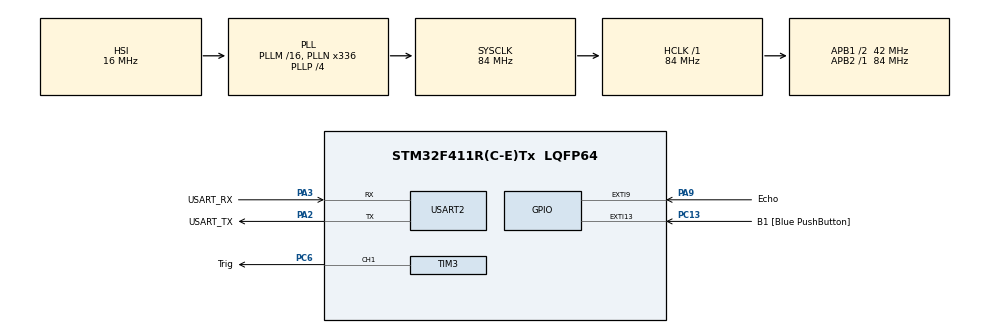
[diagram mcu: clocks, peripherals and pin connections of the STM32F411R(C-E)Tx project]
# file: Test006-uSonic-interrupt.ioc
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Mcu.Family=STM32F4
Mcu.Name=STM32F411R(C-E)Tx
Mcu.Package=LQFP64
NVIC.EXTI9_5_IRQn=true\:0\:0\:false\:false\:true\:true\:true\:true
NVIC.PriorityGroup=NVIC_PRIORITYGROUP_0
PA13.GPIO_Label=TMS
PA13.Mode=Serial_Wire
PA13.Signal=SYS_JTMS-SWDIO
PA14.GPIO_Label=TCK
PA14.Mode=Serial_Wire
PA14.Signal=SYS_JTCK-SWCLK
PA2.GPIO_Label=USART_TX
PA2.Mode=Asynchronous
PA2.Signal=USART2_TX
PA3.GPIO_Label=USART_RX
PA3.Mode=Asynchronous
PA3.Signal=USART2_RX
PA9.GPIO_Label=Echo
PA9.GPIO_ModeDefaultEXTI=GPIO_MODE_IT_RISING_FALLING
PA9.Signal=GPXTI9
PB3.GPIO_Label=SWO
PB3.Signal=SYS_JTDO-SWO
PC13-ANTI_TAMP.GPIO_Label=B1 [Blue PushButton]
PC13-ANTI_TAMP.GPIO_ModeDefaultEXTI=GPIO_MODE_IT_FALLING
PC13-ANTI_TAMP.Signal=GPXTI13
PC14-OSC32_IN.Mode=LSE-External-Oscillator
PC14-OSC32_IN.Signal=RCC_OSC32_IN
PC15-OSC32_OUT.Mode=LSE-External-Oscillator
PC15-OSC32_OUT.Signal=RCC_OSC32_OUT
PC6.GPIO_Label=Trig
PC6.Signal=S_TIM3_CH1
PH0\ -\ OSC_IN.Mode=HSE-External-Clock-Source
PH0\ -\ OSC_IN.Signal=RCC_OSC_IN
PH1\ -\ OSC_OUT.Mode=HSE-External-Clock-Source
PH1\ -\ OSC_OUT.Signal=RCC_OSC_OUT
ProjectManager.HeapSize=0x200
ProjectManager.StackSize=0x400
ProjectManager.TargetToolchain=STM32CubeIDE
RCC.48MHZClocksFreq_Value=84000000
RCC.AHBFreq_Value=84000000
RCC.APB1CLKDivider=RCC_HCLK_DIV2
RCC.APB1Freq_Value=42000000
RCC.APB1TimFreq_Value=84000000
RCC.APB2Freq_Value=84000000
RCC.APB2TimFreq_Value=84000000
RCC.CortexFreq_Value=84000000
RCC.FLatency-AdvancedSettings=FLASH_LATENCY_2
RCC.HCLKFreq_Value=84000000
RCC.HSE_VALUE=8000000
RCC.HSI_VALUE=16000000
RCC.PLLN=336
RCC.PLLP=RCC_PLLP_DIV4
RCC.SYSCLKFreq_VALUE=84000000
RCC.SYSCLKSource=RCC_SYSCLKSOURCE_PLLCLK
RCC.VCOOutputFreq_Value=336000000
SH.S_TIM3_CH1.0=TIM3_CH1,PWM Generation1 CH1
TIM2.Prescaler=84-1
TIM3.Channel-PWM\ Generation1\ CH1=TIM_CHANNEL_1
TIM3.Period=60000-1
TIM3.Prescaler=84-1
TIM3.Pulse-PWM\ Generation1\ CH1=10-1
USART2.VirtualMode=VM_ASYNC
VP_TIM2_VS_ClockSourceINT.Mode=Internal
VP_TIM3_VS_ClockSourceINT.Mode=Internal
board=NUCLEO-F411RE

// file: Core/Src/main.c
/* USER CODE BEGIN Header */
/**
  ******************************************************************************
  * @file           : main.c
  * @brief          : Main program body
  ******************************************************************************
  * @attention
  *
  * Copyright (c) 2025 STMicroelectronics.
  * All rights reserved.
  *
  * This software is licensed under terms that can be found in the LICENSE file
  * in the root directory of this software component.
  * If no LICENSE file comes with this software, it is provided AS-IS.
  *
  ******************************************************************************
  */
/* USER CODE END Header */
#include "main.h"

TIM_HandleTypeDef htim2;
TIM_HandleTypeDef htim3;

UART_HandleTypeDef huart2;

void SystemClock_Config(void);
static void MX_GPIO_Init(void);
static void MX_USART2_UART_Init(void);
static void MX_TIM2_Init(void);
static void MX_TIM3_Init(void);

/* USER CODE BEGIN 0 */
int t1 = 0, t2 = 0;
double dist = 0.0;
void HAL_GPIO_EXTI_Callback(uint16_t GPIO_PIN)
{

	if(GPIO_PIN == Echo_Pin)
	{
		if(HAL_GPIO_ReadPin(Echo_GPIO_Port,Echo_Pin) == 1) // rising edge
		{
			t1= htim1.Instance->CNT;
		}
		else // falling edge
		{
			t2 = htim1.Instance->CNT;
			dist = (t2-t1) *0.17;
		}
	}
}
void HAL_TIM_PeriodElapsedCallback(TIM_HandleTypeDef *htim)
{
	Trigger();
}
/* USER CODE END 0 */

int main(void)
{

  /* MCU Configuration--------------------------------------------------------*/

  /* Reset of all peripherals, Initializes the Flash interface and the Systick. */
  HAL_Init();

  /* Configure the system clock */
  SystemClock_Config();

  /* Initialize all configured peripherals */
  MX_GPIO_Init();
  MX_USART2_UART_Init();
  MX_TIM2_Init();
  MX_TIM3_Init();
  /* USER CODE BEGIN 2 */
  ProgramStart("uSonic Test = GPIO Interrupt");
  HAL_TIM_Base_Start(&htim2);
  HAL_TIM_PWM_Start(&htim3,TIM_CHANNEL_1);
  /* USER CODE END 2 */

  /* Infinite loop */
  /* USER CODE BEGIN WHILE */
  while (1)
  {
	  printf("distance = %f\r\n",dist);
	  HAL_Delay(100);
    /* USER CODE END WHILE */

  }
}

void SystemClock_Config(void)
{
  RCC_OscInitTypeDef RCC_OscInitStruct = {0};
  RCC_ClkInitTypeDef RCC_ClkInitStruct = {0};

  /** Configure the main internal regulator output voltage
  */
  __HAL_RCC_PWR_CLK_ENABLE();
  __HAL_PWR_VOLTAGESCALING_CONFIG(PWR_REGULATOR_VOLTAGE_SCALE1);

  /** Initializes the RCC Oscillators according to the specified parameters
  * in the RCC_OscInitTypeDef structure.
  */
  RCC_OscInitStruct.OscillatorType = RCC_OSCILLATORTYPE_HSI;
  RCC_OscInitStruct.HSIState = RCC_HSI_ON;
  RCC_OscInitStruct.HSICalibrationValue = RCC_HSICALIBRATION_DEFAULT;
  RCC_OscInitStruct.PLL.PLLState = RCC_PLL_ON;
  RCC_OscInitStruct.PLL.PLLSource = RCC_PLLSOURCE_HSI;
  RCC_OscInitStruct.PLL.PLLM = 16;
  RCC_OscInitStruct.PLL.PLLN = 336;
  RCC_OscInitStruct.PLL.PLLP = RCC_PLLP_DIV4;
  RCC_OscInitStruct.PLL.PLLQ = 4;
  if (HAL_RCC_OscConfig(&RCC_OscInitStruct) != HAL_OK)
  {
    Error_Handler();
  }

  /** Initializes the CPU, AHB and APB buses clocks
  */
  RCC_ClkInitStruct.ClockType = RCC_CLOCKTYPE_HCLK|RCC_CLOCKTYPE_SYSCLK
                              |RCC_CLOCKTYPE_PCLK1|RCC_CLOCKTYPE_PCLK2;
  RCC_ClkInitStruct.SYSCLKSource = RCC_SYSCLKSOURCE_PLLCLK;
  RCC_ClkInitStruct.AHBCLKDivider = RCC_SYSCLK_DIV1;
  RCC_ClkInitStruct.APB1CLKDivider = RCC_HCLK_DIV2;
  RCC_ClkInitStruct.APB2CLKDivider = RCC_HCLK_DIV1;

  if (HAL_RCC_ClockConfig(&RCC_ClkInitStruct, FLASH_LATENCY_2) != HAL_OK)
  {
    Error_Handler();
  }
}

static void MX_TIM2_Init(void)
{

  TIM_ClockConfigTypeDef sClockSourceConfig = {0};
  TIM_MasterConfigTypeDef sMasterConfig = {0};

  htim2.Instance = TIM2;
  htim2.Init.Prescaler = 84-1;
  htim2.Init.CounterMode = TIM_COUNTERMODE_UP;
  htim2.Init.Period = 4294967295;
  htim2.Init.ClockDivision = TIM_CLOCKDIVISION_DIV1;
  htim2.Init.AutoReloadPreload = TIM_AUTORELOAD_PRELOAD_DISABLE;
  if (HAL_TIM_Base_Init(&htim2) != HAL_OK)
  {
    Error_Handler();
  }
  sClockSourceConfig.ClockSource = TIM_CLOCKSOURCE_INTERNAL;
  if (HAL_TIM_ConfigClockSource(&htim2, &sClockSourceConfig) != HAL_OK)
  {
    Error_Handler();
  }
  sMasterConfig.MasterOutputTrigger = TIM_TRGO_RESET;
  sMasterConfig.MasterSlaveMode = TIM_MASTERSLAVEMODE_DISABLE;
  if (HAL_TIMEx_MasterConfigSynchronization(&htim2, &sMasterConfig) != HAL_OK)
  {
    Error_Handler();
  }

}

static void MX_TIM3_Init(void)
{

  TIM_ClockConfigTypeDef sClockSourceConfig = {0};
  TIM_MasterConfigTypeDef sMasterConfig = {0};
  TIM_OC_InitTypeDef sConfigOC = {0};

  htim3.Instance = TIM3;
  htim3.Init.Prescaler = 84-1;
  htim3.Init.CounterMode = TIM_COUNTERMODE_UP;
  htim3.Init.Period = 60000-1;
  htim3.Init.ClockDivision = TIM_CLOCKDIVISION_DIV1;
  htim3.Init.AutoReloadPreload = TIM_AUTORELOAD_PRELOAD_DISABLE;
  if (HAL_TIM_Base_Init(&htim3) != HAL_OK)
  {
    Error_Handler();
  }
  sClockSourceConfig.ClockSource = TIM_CLOCKSOURCE_INTERNAL;
  if (HAL_TIM_ConfigClockSource(&htim3, &sClockSourceConfig) != HAL_OK)
  {
    Error_Handler();
  }
  if (HAL_TIM_PWM_Init(&htim3) != HAL_OK)
  {
    Error_Handler();
  }
  sMasterConfig.MasterOutputTrigger = TIM_TRGO_RESET;
  sMasterConfig.MasterSlaveMode = TIM_MASTERSLAVEMODE_DISABLE;
  if (HAL_TIMEx_MasterConfigSynchronization(&htim3, &sMasterConfig) != HAL_OK)
  {
    Error_Handler();
  }
  sConfigOC.OCMode = TIM_OCMODE_PWM1;
  sConfigOC.Pulse = 10-1;
  sConfigOC.OCPolarity = TIM_OCPOLARITY_HIGH;
  sConfigOC.OCFastMode = TIM_OCFAST_DISABLE;
  if (HAL_TIM_PWM_ConfigChannel(&htim3, &sConfigOC, TIM_CHANNEL_1) != HAL_OK)
  {
    Error_Handler();
  }
  HAL_TIM_MspPostInit(&htim3);

}

static void MX_USART2_UART_Init(void)
{

  huart2.Instance = USART2;
  huart2.Init.BaudRate = 115200;
  huart2.Init.WordLength = UART_WORDLENGTH_8B;
  huart2.Init.StopBits = UART_STOPBITS_1;
  huart2.Init.Parity = UART_PARITY_NONE;
  huart2.Init.Mode = UART_MODE_TX_RX;
  huart2.Init.HwFlowCtl = UART_HWCONTROL_NONE;
  huart2.Init.OverSampling = UART_OVERSAMPLING_16;
  if (HAL_UART_Init(&huart2) != HAL_OK)
  {
    Error_Handler();
  }

}

static void MX_GPIO_Init(void)
{
  GPIO_InitTypeDef GPIO_InitStruct = {0};

  /* GPIO Ports Clock Enable */
  __HAL_RCC_GPIOC_CLK_ENABLE();
  __HAL_RCC_GPIOH_CLK_ENABLE();
  __HAL_RCC_GPIOA_CLK_ENABLE();
  __HAL_RCC_GPIOB_CLK_ENABLE();

  /*Configure GPIO pin : B1_Pin */
  GPIO_InitStruct.Pin = B1_Pin;
  GPIO_InitStruct.Mode = GPIO_MODE_IT_FALLING;
  GPIO_InitStruct.Pull = GPIO_NOPULL;
  HAL_GPIO_Init(B1_GPIO_Port, &GPIO_InitStruct);

  /*Configure GPIO pin : Echo_Pin */
  GPIO_InitStruct.Pin = Echo_Pin;
  GPIO_InitStruct.Mode = GPIO_MODE_IT_RISING_FALLING;
  GPIO_InitStruct.Pull = GPIO_NOPULL;
  HAL_GPIO_Init(Echo_GPIO_Port, &GPIO_InitStruct);

  /* EXTI interrupt init*/
  HAL_NVIC_SetPriority(EXTI9_5_IRQn, 0, 0);
  HAL_NVIC_EnableIRQ(EXTI9_5_IRQn);

}

void Error_Handler(void)
{
  __disable_irq();
  while (1)
  {
  }
}
